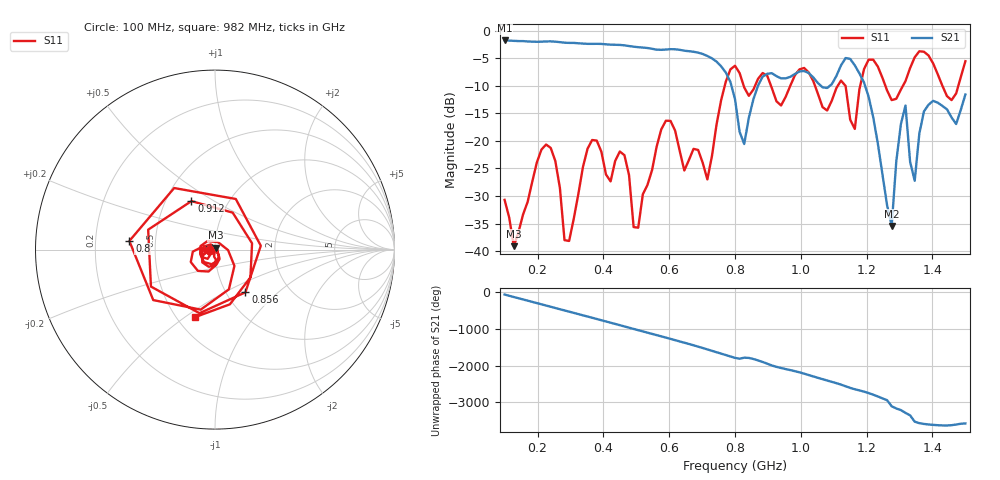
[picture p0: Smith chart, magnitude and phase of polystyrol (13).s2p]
! NanoVNA-App
! Date: 2025-09-25 15:30:00
! Start: 100MHz Stop: 1,5GHz Points: 101
! S-Parameter data: F S11 S21 S12 S22
# Hz S RI R 50
!  Frequency  S11_Real  S11_Imag  S21_Real  S21_Imag  S12_Real  S12_Imag  S22_Real  S22_Imag
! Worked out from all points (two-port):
!   101 points, 100 MHz to 1.5 GHz, reference 50 ohm
!   highest |S21| = -1.80 dB at 100 MHz (marker M1); lowest = -35.4 dB at 1.276 GHz (marker M2)
!   |S21| within 3 dB of the highest: start of sweep to 722 MHz
!   lowest |S11| = -39.1 dB at 128 MHz (marker M3), VSWR 1.02, Z = 50.3 + j1.06 ohm
!   |S11| at or under -10 dB: start of sweep to 768.9 MHz; 909.2 MHz to 968.1 MHz (58.86 MHz wide, 6.27 % of centre); 1.043 GHz to 1.112 GHz (69.46 MHz wide, 6.45 % of centre) (the widest 3 of 7)
!   S12 and S22 are empty: the file has one direction only
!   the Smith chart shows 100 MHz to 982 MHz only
!   S11 on the Smith chart (normalised r, x): 100 MHz: 0.94, -0.01; 800 MHz: 0.35, +0.04; 856 MHz: 1.23, -0.64; 912 MHz: 0.67, +0.40; 982 MHz: 0.61, -0.55
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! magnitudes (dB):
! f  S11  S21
! 100 MHz  -30.7  -1.8
! 128 MHz  -39.1  -1.9
! 212 MHz  -21.6  -2.0
! 254 MHz  -23.6  -2.0
! 282 MHz  -38.0  -2.2
! 338 MHz  -24.7  -2.4
! 464 MHz  -22.6  -2.7
! 506 MHz  -35.7  -3.0
! 576 MHz  -17.9  -3.5
! 716 MHz  -27.0  -4.6
! 800 MHz  -6.4  -12.4
! 828 MHz  -10.3  -20.6
! 856 MHz  -10.7  -12.4
! 912 MHz  -10.4  -7.7
! 982 MHz  -8.1  -7.9
! 1.038 GHz  -9.2  -8.5
! 1.178 GHz  -10.6  -7.8
! 1.276 GHz  -12.6  -35.4
! 1.318 GHz  -9.2  -13.6
! 1.346 GHz  -4.8  -27.2
! 1.374 GHz  -3.8  -14.7
! 1.5 GHz  -5.6  -11.6
